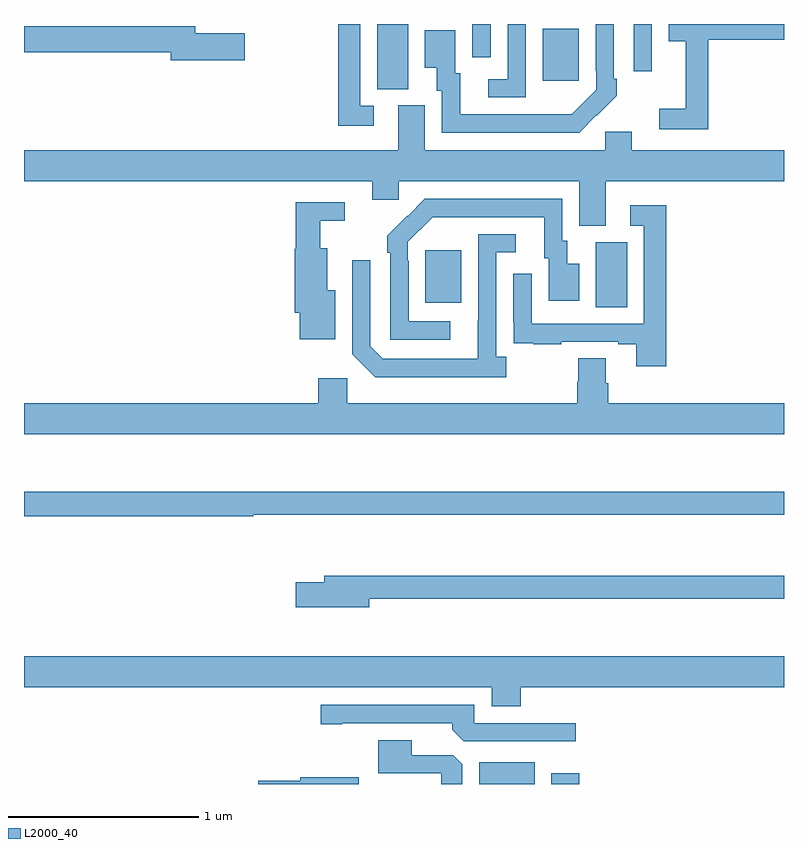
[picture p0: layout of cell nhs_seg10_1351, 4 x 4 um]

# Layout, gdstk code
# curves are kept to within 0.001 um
import gdstk
lib = gdstk.Library(unit=1e-6, precision=1e-09)
def R(c, l, rs):  # rectangles x0, y0, x1, y1
    for r in rs: c.add(gdstk.rectangle(r[:2], r[2:], *l))
def P(c, l, *ps):  # polygons
    for p in ps: c.add(gdstk.Polygon(p, *l))
L2000_40 = (2000, 40)

nhs_seg10_1351 = lib.new_cell('nhs_seg10_1351')
R(nhs_seg10_1351, L2000_40, [(183.395,1274.5,183.688,1274.614), (183.776,1274.5,183.923,1274.557), (184.01,1277.008,184.174,1277.352), (183.113,1277.033,183.301,1277.308), (182.858,1278.157,183.022,1278.5), (183.731,1278.201,183.919,1278.475), (184.209,1278.252,184.305,1278.5), (183.36,1278.324,183.456,1278.5)])
P(nhs_seg10_1351, L2000_40, [(183.642,1278.5),(183.546,1278.5),(183.546,1278.21),(183.444,1278.21),(183.444,1278.114),(183.642,1278.114)],
  [(182.842,1278.069),(182.769,1278.069),(182.769,1278.5),(182.653,1278.5),(182.653,1277.964),(182.842,1277.964)],
  [(184.601,1278.416),(185,1278.416),(185,1278.5),(184.394,1278.5),(184.394,1278.41),(184.484,1278.41),(184.484,1278.055),(184.344,1278.055),(184.344,1277.946),(184.601,1277.946)],
  [(184.013,1278.019),(184.014,1278.018),(184.119,1278.123),(184.119,1278.211),(184.104,1278.211),(184.104,1278.5),(184.008,1278.5),(184.008,1278.253),(184.011,1278.253),(184.011,1278.153),(183.883,1278.025),(183.295,1278.024),(183.295,1278.24),(183.271,1278.24),(183.271,1278.466),(183.11,1278.466),(183.11,1278.269),(183.173,1278.269),(183.173,1278.15),(183.198,1278.15),(183.198,1277.928),(183.922,1277.928)],
  [(182.161,1278.452),(181.9,1278.452),(181.9,1278.488),(181,1278.488),(181,1278.352),(181.772,1278.352),(181.772,1278.31),(182.161,1278.31)],
  [(184.063,1277.672),(185,1277.672),(185,1277.836),(184.198,1277.836),(184.198,1277.934),(184.059,1277.934),(184.059,1277.836),(183.109,1277.836),(183.109,1278.072),(182.969,1278.072),(182.969,1277.836),(181,1277.836),(181,1277.672),(182.834,1277.672),(182.834,1277.574),(182.973,1277.574),(182.973,1277.672),(183.923,1277.672),(183.923,1277.437),(184.063,1277.437)],
  [(183.244,1276.935),(183.024,1276.935),(183.024,1277.255),(183.021,1277.255),(183.021,1277.355),(183.15,1277.484),(183.737,1277.484),(183.737,1277.268),(183.761,1277.268),(183.761,1277.043),(183.922,1277.043),(183.922,1277.239),(183.859,1277.239),(183.859,1277.358),(183.834,1277.358),(183.834,1277.58),(183.11,1277.58),(182.913,1277.385),(182.913,1277.297),(182.928,1277.297),(182.928,1276.839),(183.244,1276.839)],
  [(182.638,1277.098),(182.596,1277.098),(182.596,1277.32),(182.56,1277.32),(182.56,1277.465),(182.689,1277.465),(182.689,1277.562),(182.431,1277.562),(182.431,1277.316),(182.426,1277.316),(182.426,1276.98),(182.45,1276.98),(182.45,1276.841),(182.638,1276.841)],
  [(184.379,1277.545),(184.191,1277.545),(184.191,1277.439),(184.263,1277.439),(184.263,1276.923),(183.672,1276.923),(183.672,1277.185),(183.576,1277.185),(183.576,1276.93),(183.577,1276.93),(183.577,1276.821),(183.679,1276.821),(183.679,1276.815),(183.827,1276.815),(183.827,1276.827),(184.127,1276.827),(184.127,1276.815),(184.223,1276.815),(184.223,1276.698),(184.379,1276.698)],
  [(183.538,1276.75),(183.486,1276.75),(183.486,1277.298),(183.589,1277.298),(183.589,1277.394),(183.39,1277.394),(183.389,1276.737),(182.889,1276.737),(182.823,1276.803),(182.823,1277.257),(182.727,1277.257),(182.727,1276.761),(182.848,1276.64),(183.538,1276.64)],
  [(185,1276.504),(184.076,1276.504),(184.076,1276.61),(184.063,1276.61),(184.063,1276.742),(183.916,1276.742),(183.916,1276.617),(183.911,1276.617),(183.911,1276.504),(182.7,1276.504),(182.7,1276.636),(182.549,1276.636),(182.549,1276.504),(181,1276.504),(181,1276.34),(185,1276.34)],
  [(182.206,1275.918),(185,1275.918),(185,1276.039),(181,1276.039),(181,1275.91),(182.206,1275.91)],
  [(182.818,1275.474),(185,1275.474),(185,1275.595),(182.579,1275.595),(182.579,1275.561),(182.43,1275.561),(182.43,1275.431),(182.818,1275.431)],
  [(183.614,1275.008),(185,1275.008),(185,1275.172),(181,1275.172),(181,1275.008),(183.461,1275.008),(183.461,1274.909),(183.614,1274.909)],
  [(183.904,1274.82),(183.369,1274.82),(183.369,1274.916),(182.562,1274.916),(182.562,1274.815),(182.674,1274.815),(182.674,1274.82),(183.254,1274.82),(183.254,1274.786),(183.315,1274.724),(183.904,1274.724)],
  [(183.307,1274.603),(183.258,1274.652),(183.04,1274.652),(183.04,1274.731),(182.864,1274.731),(182.864,1274.556),(183.195,1274.556),(183.195,1274.5),(183.307,1274.5)],
  [(182.761,1274.536),(182.453,1274.536),(182.453,1274.516),(182.234,1274.516),(182.234,1274.5),(182.761,1274.5)])

lib.write_gds('nhs_seg10_1351.gds')
